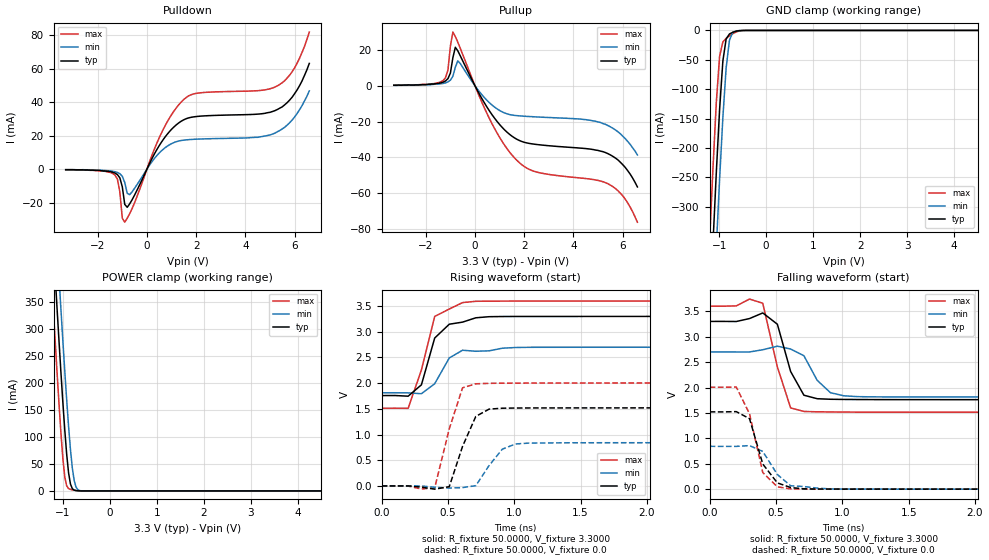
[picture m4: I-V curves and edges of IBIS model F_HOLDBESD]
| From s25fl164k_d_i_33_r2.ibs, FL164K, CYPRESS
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|   Model   F_HOLDBESD
[Model]   F_HOLDBESD
Model_type I/O
Vinl =   0.9900V | Vinl = 0.3*Vio
Vinh =   2.3100V | Vinh = 0.7*Vio
Vmeas =  1.6500V | Vmeas = 0.5*Vio
Cref =   30.0000pF
   C_comp   5.13pF   4.97pF   5.38pF
[Temperature Range]   25.0000   85.0000   -40.0000
[Pullup Reference]   3.3000V   2.7000V   3.6000V
[Pulldown Reference]   0.0V   0.0V   0.0V
[POWER Clamp Reference]   3.3000V   2.7000V   3.6000V
[GND Clamp Reference]   0.0V   0.0V   0.0V
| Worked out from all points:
|   slope of the pulldown table from 0 to 0.495 V, typ, clamps not added: 35.6 ohm
|   slope of the pullup table from 0 to 0.495 V, typ, clamps not added: 41 ohm
|   GND clamp passes 1 mA (typ) near -0.61 V on its own axis
|   POWER clamp passes 1 mA (typ) near -0.74 V on its own axis
|   rising waveform, R_fixture 50.0000, V_fixture 3.3000: 20-80 % time 135ps typ, 131ps min, 133ps max; typ from 1.76 V to 3.3 V
|   rising waveform, R_fixture 50.0000, V_fixture 0.0: 20-80 % time 136ps typ, 145ps min, 130ps max; typ from 0 V to 1.52 V
|   falling waveform, R_fixture 50.0000, V_fixture 3.3000: 20-80 % time 126ps typ, 141ps min, 127ps max; typ from 3.3 V to 1.76 V
|   falling waveform, R_fixture 50.0000, V_fixture 0.0: 20-80 % time 137ps typ, 148ps min, 116ps max; typ from 1.52 V to 0 V
[Pulldown]
|Voltage   I(typ)   I(min)   I(max)
-3.3V     -300uA     -300uA     -400uA
-1.3V     -2.31mA    -1.51mA    -3.5mA
-1.1V     -5.16mA    -2.68mA    -13.54mA
-1V       -10.53mA   -4.21mA    -29.24mA
-900mV    -21.04mA   -7.97mA    -31.64mA
-700mV    -20.69mA   -15.25mA   -26.55mA
500mV     14.03mA    9.643mA    18.71mA
1.4V      28.67mA    17.11mA    40.16mA
2V        31.4mA     17.89mA    45.22mA
5.3V      35.6mA     22.3mA     49.7mA
6V        45mA       31.1mA     60.4mA
6.6V      63.1mA     46.7mA     81.8mA
[Pullup]
|Voltage   I(typ)   I(min)   I(max)
-3.3V     300uA      300uA      300uA
-1.3V     2.01mA     1.32mA     2.92mA
-1.1V     3.98mA     2.18mA     8.75mA
-900mV    15.65mA    5.29mA     30.01mA
-800mV    21.52mA    10.36mA    27.55mA
-700mV    19.55mA    13.95mA    24.4mA
600mV     -14.3mA    -9.641mA   -18.69mA
1.7V      -29.87mA   -16.67mA   -41.62mA
2.5V      -32.77mA   -17.38mA   -48.16mA
5.4V      -37.9mA    -22.2mA    -54.7mA
6V        -44mA      -28.1mA    -61.4mA
6.6V      -56.5mA    -38.6mA    -76.2mA
[GND_clamp]
|Voltage   I(typ)   I(min)   I(max)
-3.3V     -4.568A    -4.691A    -4.449A
-1.2V     -484.7mA   -617.2mA   -354.1mA
-1.13V    -360.4mA   -491.5mA   -232.6mA
-1.06V    -241.9mA   -369.3mA   -122.7mA
-990mV    -134.4mA   -253.1mA   -43.95mA
-920mV    -51.59mA   -147.6mA   -19.44mA
-850mV    -14.21mA   -63.13mA   -13.54mA
-780mV    -6.013mA   -16.51mA   -9.219mA
-710mV    -3.117mA   -3.355mA   -5.558mA
-570mV    -405.7uA   -186uA     -924.7uA
-430mV    -14.06uA   -7.484uA   -27.17uA
6.6V      145.6pA    185.5uA    -210.5nA
[POWER_clamp]
|Voltage   I(typ)   I(min)   I(max)
-3.28V    3.826A     3.939A     3.716A
-1.24V    512.1mA    633mA      391.5mA
-1.2V     450.9mA    571.6mA    330.6mA
-1.16V    390.5mA    510.8mA    270.8mA
-1.12V    331mA      450.6mA    212.6mA
-1.08V    272.8mA    391.3mA    156.6mA
-1.04V    216.2mA    333mA      104.4mA
-960mV    112mA      221.1mA    25.55mA
-840mV    12.8mA     76.89mA    2.826mA
-760mV    1.384mA    18.95mA    1.283mA
-600mV    42.64uA    185.5uA    77.09uA
6.6V      145.6pA    163.5pA    144.8pA
[Ramp]
| variable   typ   min   max
dV/dt_r  0.9125/98.5454p   0.5054/0.1232n   1.2032/76.3685p
dV/dt_f  0.9247/97.2999p   0.5321/0.1197n   1.2527/77.2066p
R_load = 50.0000
[Rising Waveform]
R_fixture= 50.0000
V_fixture= 3.3000
V_fixture_min= 2.7000
V_fixture_max= 3.6000
|time   V(typ)   V(min)   V(max)
0s        1.758V     1.813V     1.512V
200ps     1.747V     1.812V     1.511V
300ps     1.968V     1.795V     2.258V
400ps     2.878V     1.989V     3.299V
510ps     3.148V     2.49V      3.443V
610ps     3.188V     2.641V     3.568V
710ps     3.272V     2.621V     3.594V
1.11ns    3.298V     2.698V     3.598V
9.9ns     3.334V     2.728V     3.637V
10ns      3.3V       2.7V       3.6V
[Rising Waveform]
R_fixture= 50.0000
V_fixture= 0.0
V_fixture_min= 0.0
V_fixture_max= 0.0
|time   V(typ)   V(min)   V(max)
0s        -48.82uV   54.02uV    -107.1uV
400ps     -62.84mV   -25.23mV   -37.81mV
510ps     -14.12mV   -42.15mV   1.112V
610ps     769.5mV    -32.1mV    1.91V
710ps     1.353V     5.189mV    1.988V
810ps     1.495V     396.6mV    1.997V
910ps     1.513V     716mV      2V
1.01ns    1.516V     816.6mV    2.001V
1.11ns    1.518V     833.8mV    2.002V
10ns      1.521V     842.4mV    2.005V
[Falling Waveform]
R_fixture= 50.0000
V_fixture= 3.3000
V_fixture_min= 2.7000
V_fixture_max= 3.6000
|time   V(typ)   V(min)   V(max)
0s        3.3V       2.7V       3.6V
300ps     3.357V     2.699V     3.74V
400ps     3.467V     2.743V     3.657V
510ps     3.245V     2.813V     2.404V
610ps     2.315V     2.757V     1.599V
710ps     1.848V     2.625V     1.529V
810ps     1.78V      2.142V     1.522V
910ps     1.769V     1.898V     1.519V
1.11ns    1.764V     1.821V     1.516V
10ns      1.759V     1.813V     1.512V
[Falling Waveform]
R_fixture= 50.0000
V_fixture= 0.0
V_fixture_min= 0.0
V_fixture_max= 0.0
|time   V(typ)   V(min)   V(max)
0s        1.521V     842.5mV    2.006V
200ps     1.526V     841.8mV    2.01V
300ps     1.387V     856.8mV    1.484V
400ps     494.3mV    742.7mV    326.2mV
510ps     123mV      288.2mV    45.25mV
610ps     32.41mV    67.08mV    6.354mV
710ps     6.399mV    51.51mV    2.934mV
810ps     2.385mV    21.24mV    1.975mV
1.01ns    1.337mV    1.673mV    1.426mV
10ns      -12.45uV   16.22uV    88.13uV
